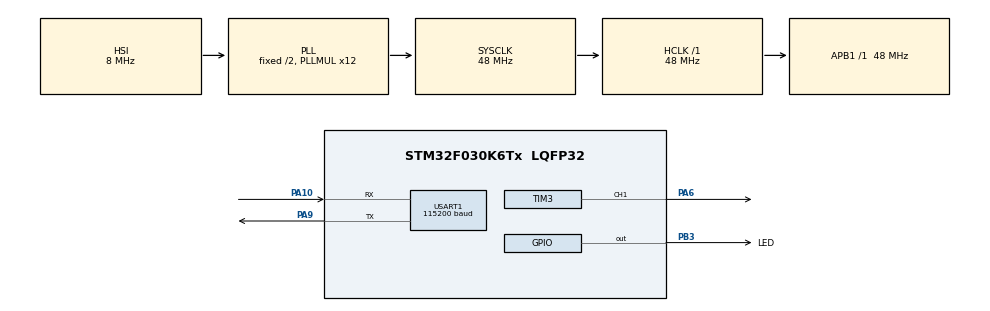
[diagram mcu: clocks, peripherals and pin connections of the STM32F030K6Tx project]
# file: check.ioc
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Dma.Request0=TIM3_CH1/TRIG
Dma.TIM3_CH1/TRIG.0.Direction=DMA_MEMORY_TO_PERIPH
Dma.TIM3_CH1/TRIG.0.Instance=DMA1_Channel4
Dma.TIM3_CH1/TRIG.0.MemDataAlignment=DMA_MDATAALIGN_BYTE
Dma.TIM3_CH1/TRIG.0.MemInc=DMA_MINC_ENABLE
Dma.TIM3_CH1/TRIG.0.Mode=DMA_NORMAL
Dma.TIM3_CH1/TRIG.0.PeriphDataAlignment=DMA_PDATAALIGN_HALFWORD
Dma.TIM3_CH1/TRIG.0.PeriphInc=DMA_PINC_DISABLE
Dma.TIM3_CH1/TRIG.0.Priority=DMA_PRIORITY_LOW
Mcu.Family=STM32F0
Mcu.Name=STM32F030K6Tx
Mcu.Package=LQFP32
NVIC.DMA1_Channel4_5_IRQn=true\:0\:0\:false\:false\:true\:false\:true
NVIC.TIM3_IRQn=true\:0\:0\:false\:false\:true\:true\:true
NVIC.USART1_IRQn=true\:0\:0\:false\:false\:true\:true\:true
PA10.Mode=Asynchronous
PA10.Signal=USART1_RX
PA6.GPIO_PuPd=GPIO_PULLDOWN
PA6.GPIO_Speed=GPIO_SPEED_FREQ_HIGH
PA6.Signal=S_TIM3_CH1
PA9.Mode=Asynchronous
PA9.Signal=USART1_TX
PB3.GPIO_Label=LED
PB3.Signal=GPIO_Output
ProjectManager.HeapSize=0x200
ProjectManager.StackSize=0x400
ProjectManager.TargetToolchain=STM32CubeIDE
RCC.AHBFreq_Value=48000000
RCC.APB1Freq_Value=48000000
RCC.APB1TimFreq_Value=48000000
RCC.HCLKFreq_Value=48000000
RCC.PLLMUL=RCC_PLL_MUL12
RCC.SYSCLKFreq_VALUE=48000000
RCC.SYSCLKSource=RCC_SYSCLKSOURCE_PLLCLK
SH.S_TIM3_CH1.0=TIM3_CH1,PWM Generation1 CH1
TIM3.Channel-PWM\ Generation1\ CH1=TIM_CHANNEL_1
TIM3.Period=29
TIM3.Prescaler=1
USART1.BaudRate=115200
USART1.VirtualMode-Asynchronous=VM_ASYNC
board=custom

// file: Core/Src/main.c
/* USER CODE BEGIN Header */
/**
 ******************************************************************************
 * @file           : main.c
 * @brief          : Main program body
 ******************************************************************************
 * @attention
 *
 * Copyright (c) 2022 STMicroelectronics.
 * All rights reserved.
 *
 * This software is licensed under terms that can be found in the LICENSE file
 * in the root directory of this software component.
 * If no LICENSE file comes with this software, it is provided AS-IS.
 *
 ******************************************************************************
 */
/* USER CODE END Header */
#include "main.h"

/* USER CODE BEGIN Includes */
#include <string.h>
#include <stdlib.h>
#include <ctype.h>
/* USER CODE END Includes */

/* USER CODE BEGIN PD */

#define MAX_LED 	16

/* USER CODE END PD */

TIM_HandleTypeDef htim3;
DMA_HandleTypeDef hdma_tim3_ch1_trig;

UART_HandleTypeDef huart1;

void SystemClock_Config(void);
static void MX_GPIO_Init(void);
static void MX_TIM3_Init(void);
static void MX_DMA_Init(void);
static void MX_USART1_UART_Init(void);
/* USER CODE BEGIN PFP */

uint8_t LED_Data[MAX_LED][4];
uint8_t LED_PWM_Data[MAX_LED * 24];
uint8_t LED_sending;

uint8_t msg_idx;
uint8_t msg[32], ch;
uint8_t mode;

/* USER CODE END PFP */

/* USER CODE BEGIN 0 */

void HAL_TIM_PWM_PulseFinishedCallback(TIM_HandleTypeDef *htim) {
	HAL_TIM_PWM_Stop_DMA(&htim3, TIM_CHANNEL_1);
	LED_sending = 0;
}

void LED_set(uint32_t LED_number, uint8_t red, uint8_t green, uint8_t blue) {
	LED_Data[LED_number][0] = LED_number;
	LED_Data[LED_number][1] = green;
	LED_Data[LED_number][2] = red;
	LED_Data[LED_number][3] = blue;
}

void LED_send(void) {
	while (LED_sending)
		;

	LED_sending = 1;
	memset(LED_PWM_Data, 0, 24 * MAX_LED + 40);

	uint32_t idx = 0;

	for (int i = 0; i < MAX_LED; ++i) {
		uint32_t color = ((LED_Data[i][1] << 16) | (LED_Data[i][2] << 8)
				| (LED_Data[i][3]));

		for (int j = 23; j >= 0; --j) {
			if (color & (1 << j)) {
				LED_PWM_Data[idx] = 0.66 * TIM3->ARR;
			} else {
				LED_PWM_Data[idx] = 0.33 * TIM3->ARR;
			}
			idx++;
		}
	}

	HAL_TIM_PWM_Start_DMA(&htim3, TIM_CHANNEL_1, (uint32_t*) LED_PWM_Data,
			24 * MAX_LED + 40);
}

void LED_menu() {
	char msg[] = "=============LED MENU=============\r\n"
			"To use LED WS2812B type following commands:\r\n"
			"ON [n]    - to turn on LED with green color, \r\n"
			"            [n] is integer value for LED \r\n"
			"                              brightness\r\n"
			"OFF       - to turn off LED\r\n"
			"PARITY    - to turn on parity mode\r\n"
			"HEARTBEAT - to turn on heartbeat mode\r\n"
			"==================================\r\n\n";

	HAL_UART_Transmit(&huart1, msg, strlen(msg), -1);
}

uint8_t brightness;

void LED_whiteMode() {
	for (int i = 0; i < MAX_LED; ++i) {
		LED_set(i, 0, brightness, 0);
	}
}

void LED_shutdownMode(void) {
	for (int i = 0; i < MAX_LED; ++i) {
		LED_set(i, 0, 0, 0);
	}
}

void LED_parityMode(void) {
	for (int i = 0; i < MAX_LED; i++) {
		if (i % 2) {
			LED_set(i, 255, 40, 0);
		} else {
			LED_set(i, 255, 255, 0);
		}
	}
}

uint8_t toggle_var, toggle_pl;

void LED_toggleMode(void) {
	HAL_Delay(10);

	for (int i = 0; i < MAX_LED; ++i) {
		LED_set(i, toggle_var, 0, 0);
	}
}

void HAL_UART_RxCpltCallback(UART_HandleTypeDef *huart) {
	HAL_UART_Transmit(&huart1, &ch, 1, -1);
	if (ch == '\r') {
		char n = '\n';
		HAL_UART_Transmit(&huart1, (uint8_t*) &n, 1, -1);

		uint8_t slice[msg_idx + 1];
		memcpy(slice, msg, msg_idx);
		slice[msg_idx] = '\0';

		if (msg_idx >= 2) {

			if (slice[0] == 'O' && slice[1] == 'N') {
				if (msg_idx == 2) {
					brightness = 255;
					const char *s = "MODE: ON\r\n";
					HAL_UART_Transmit(&huart1, (uint8_t*) s, strlen(s), -1);
					mode = 0;
				} else {
					if (slice[2] == ' ' && msg_idx > 3) {
						uint8_t is_num = 1;

						for (int i = 3; i < msg_idx; ++i) {
							if (!isdigit(slice[i])) {
								is_num = 0;
								break;
							}
						}

						if (is_num) {
							uint32_t num = 0, rank = 1;
							for (int i = msg_idx - 1; i >= 3; --i) {
								num += (slice[i] - '0') * rank;
								rank *= 10;
							}

							if (num > 255)
								num = 255;

							brightness = num;
						}
					}
				}
			} else if (!strcmp((const char*) slice, (const char*) "OFF")) {
				const char *s = "MODE: OFF\r\n";
				HAL_UART_Transmit(&huart1, (uint8_t*) s, strlen(s), -1);
				mode = 1;
			} else if (!strcmp((const char*) slice, (const char*) "PARITY")) {
				const char *s = "MODE: PARITY\r\n";
				HAL_UART_Transmit(&huart1, (uint8_t*) s, strlen(s), -1);
				mode = 2;
			} else if (!strcmp((const char*) slice,
					(const char*) "HEARTBEAT")) {
				const char *s = "MODE: HEARTBEAT\r\n";
				HAL_UART_Transmit(&huart1, (uint8_t*) s, strlen(s), -1);
				mode = 3;
			}
		}
		msg_idx = 0;
		memset(msg, 0, 32);
	} else {
		msg[msg_idx] = ch;
		msg_idx++;
	}
}

/* USER CODE END 0 */

int main(void) {

	/* MCU Configuration--------------------------------------------------------*/

	/* Reset of all peripherals, Initializes the Flash interface and the Systick. */
	HAL_Init();

	/* Configure the system clock */
	SystemClock_Config();

	/* Initialize all configured peripherals */
	MX_GPIO_Init();
	MX_DMA_Init();
	MX_TIM3_Init();
	MX_USART1_UART_Init();
	/* USER CODE BEGIN 2 */
	LED_sending = 0;
	msg_idx = 0;
	mode = 0;
	ch = ' ';
	toggle_var = 1, toggle_pl = 1;
	brightness = 255;
	/* USER CODE END 2 */

	/* Infinite loop */
	/* USER CODE BEGIN WHILE */
	LED_menu();

	while (1) {
		HAL_UART_Receive_IT(&huart1, &ch, 1);

		if (mode == 0) {
			LED_whiteMode();
		} else if (mode == 1) {
			LED_shutdownMode();
		} else if (mode == 2) {
			LED_parityMode();
		} else if (mode == 3) {
			LED_toggleMode();
			toggle_var += toggle_pl;
			if (toggle_var == 255) {
				toggle_pl = -1;
			} else if (toggle_var == 0) {
				toggle_pl = 1;
			}
		}
		LED_send();
		/* USER CODE END WHILE */

	}
}

void SystemClock_Config(void) {
	RCC_OscInitTypeDef RCC_OscInitStruct = { 0 };
	RCC_ClkInitTypeDef RCC_ClkInitStruct = { 0 };
	RCC_PeriphCLKInitTypeDef PeriphClkInit = { 0 };

	/** Initializes the RCC Oscillators according to the specified parameters
	 * in the RCC_OscInitTypeDef structure.
	 */
	RCC_OscInitStruct.OscillatorType = RCC_OSCILLATORTYPE_HSI;
	RCC_OscInitStruct.HSIState = RCC_HSI_ON;
	RCC_OscInitStruct.HSICalibrationValue = RCC_HSICALIBRATION_DEFAULT;
	RCC_OscInitStruct.PLL.PLLState = RCC_PLL_ON;
	RCC_OscInitStruct.PLL.PLLSource = RCC_PLLSOURCE_HSI;
	RCC_OscInitStruct.PLL.PLLMUL = RCC_PLL_MUL12;
	RCC_OscInitStruct.PLL.PREDIV = RCC_PREDIV_DIV1;
	if (HAL_RCC_OscConfig(&RCC_OscInitStruct) != HAL_OK) {
		Error_Handler();
	}
	/** Initializes the CPU, AHB and APB buses clocks
	 */
	RCC_ClkInitStruct.ClockType = RCC_CLOCKTYPE_HCLK | RCC_CLOCKTYPE_SYSCLK
			| RCC_CLOCKTYPE_PCLK1;
	RCC_ClkInitStruct.SYSCLKSource = RCC_SYSCLKSOURCE_PLLCLK;
	RCC_ClkInitStruct.AHBCLKDivider = RCC_SYSCLK_DIV1;
	RCC_ClkInitStruct.APB1CLKDivider = RCC_HCLK_DIV1;

	if (HAL_RCC_ClockConfig(&RCC_ClkInitStruct, FLASH_LATENCY_1) != HAL_OK) {
		Error_Handler();
	}
	PeriphClkInit.PeriphClockSelection = RCC_PERIPHCLK_USART1;
	PeriphClkInit.Usart1ClockSelection = RCC_USART1CLKSOURCE_PCLK1;
	if (HAL_RCCEx_PeriphCLKConfig(&PeriphClkInit) != HAL_OK) {
		Error_Handler();
	}
}

static void MX_TIM3_Init(void) {

	TIM_MasterConfigTypeDef sMasterConfig = { 0 };
	TIM_OC_InitTypeDef sConfigOC = { 0 };

	htim3.Instance = TIM3;
	htim3.Init.Prescaler = 1;
	htim3.Init.CounterMode = TIM_COUNTERMODE_UP;
	htim3.Init.Period = 29;
	htim3.Init.ClockDivision = TIM_CLOCKDIVISION_DIV1;
	htim3.Init.AutoReloadPreload = TIM_AUTORELOAD_PRELOAD_DISABLE;
	if (HAL_TIM_PWM_Init(&htim3) != HAL_OK) {
		Error_Handler();
	}
	sMasterConfig.MasterOutputTrigger = TIM_TRGO_RESET;
	sMasterConfig.MasterSlaveMode = TIM_MASTERSLAVEMODE_DISABLE;
	if (HAL_TIMEx_MasterConfigSynchronization(&htim3, &sMasterConfig)
			!= HAL_OK) {
		Error_Handler();
	}
	sConfigOC.OCMode = TIM_OCMODE_PWM1;
	sConfigOC.Pulse = 0;
	sConfigOC.OCPolarity = TIM_OCPOLARITY_HIGH;
	sConfigOC.OCFastMode = TIM_OCFAST_DISABLE;
	if (HAL_TIM_PWM_ConfigChannel(&htim3, &sConfigOC, TIM_CHANNEL_1)
			!= HAL_OK) {
		Error_Handler();
	}
	HAL_TIM_MspPostInit(&htim3);

}

static void MX_USART1_UART_Init(void) {

	huart1.Instance = USART1;
	huart1.Init.BaudRate = 115200;
	huart1.Init.WordLength = UART_WORDLENGTH_8B;
	huart1.Init.StopBits = UART_STOPBITS_1;
	huart1.Init.Parity = UART_PARITY_NONE;
	huart1.Init.Mode = UART_MODE_TX_RX;
	huart1.Init.HwFlowCtl = UART_HWCONTROL_NONE;
	huart1.Init.OverSampling = UART_OVERSAMPLING_16;
	huart1.Init.OneBitSampling = UART_ONE_BIT_SAMPLE_DISABLE;
	huart1.AdvancedInit.AdvFeatureInit = UART_ADVFEATURE_NO_INIT;
	if (HAL_UART_Init(&huart1) != HAL_OK) {
		Error_Handler();
	}

}

static void MX_DMA_Init(void) {

	/* DMA controller clock enable */
	__HAL_RCC_DMA1_CLK_ENABLE();

	/* DMA interrupt init */
	/* DMA1_Channel4_5_IRQn interrupt configuration */
	HAL_NVIC_SetPriority(DMA1_Channel4_5_IRQn, 0, 0);
	HAL_NVIC_EnableIRQ(DMA1_Channel4_5_IRQn);

}

static void MX_GPIO_Init(void) {
	GPIO_InitTypeDef GPIO_InitStruct = { 0 };

	/* GPIO Ports Clock Enable */
	__HAL_RCC_GPIOA_CLK_ENABLE();
	__HAL_RCC_GPIOB_CLK_ENABLE();

	/*Configure GPIO pin Output Level */
	HAL_GPIO_WritePin(LED_GPIO_Port, LED_Pin, GPIO_PIN_RESET);

	/*Configure GPIO pin : LED_Pin */
	GPIO_InitStruct.Pin = LED_Pin;
	GPIO_InitStruct.Mode = GPIO_MODE_OUTPUT_PP;
	GPIO_InitStruct.Pull = GPIO_NOPULL;
	GPIO_InitStruct.Speed = GPIO_SPEED_FREQ_LOW;
	HAL_GPIO_Init(LED_GPIO_Port, &GPIO_InitStruct);

}

void Error_Handler(void) {
	__disable_irq();
	while (1) {
	}
}
